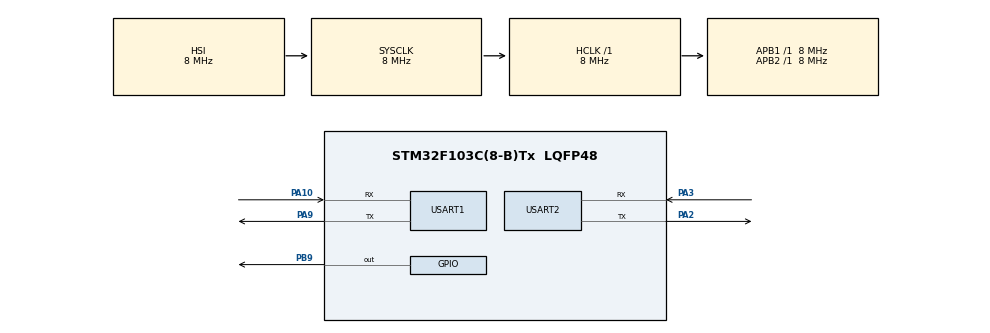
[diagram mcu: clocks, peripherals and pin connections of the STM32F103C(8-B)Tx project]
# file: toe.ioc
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Dma.Request0=USART1_RX
Dma.Request1=USART2_RX
Dma.USART1_RX.0.Direction=DMA_PERIPH_TO_MEMORY
Dma.USART1_RX.0.Instance=DMA1_Channel5
Dma.USART1_RX.0.MemDataAlignment=DMA_MDATAALIGN_BYTE
Dma.USART1_RX.0.MemInc=DMA_MINC_ENABLE
Dma.USART1_RX.0.Mode=DMA_NORMAL
Dma.USART1_RX.0.PeriphDataAlignment=DMA_PDATAALIGN_BYTE
Dma.USART1_RX.0.PeriphInc=DMA_PINC_DISABLE
Dma.USART1_RX.0.Priority=DMA_PRIORITY_LOW
Dma.USART2_RX.1.Direction=DMA_PERIPH_TO_MEMORY
Dma.USART2_RX.1.Instance=DMA1_Channel6
Dma.USART2_RX.1.MemDataAlignment=DMA_MDATAALIGN_BYTE
Dma.USART2_RX.1.MemInc=DMA_MINC_ENABLE
Dma.USART2_RX.1.Mode=DMA_NORMAL
Dma.USART2_RX.1.PeriphDataAlignment=DMA_PDATAALIGN_BYTE
Dma.USART2_RX.1.PeriphInc=DMA_PINC_DISABLE
Dma.USART2_RX.1.Priority=DMA_PRIORITY_LOW
Mcu.Family=STM32F1
Mcu.Name=STM32F103C(8-B)Tx
Mcu.Package=LQFP48
NVIC.DMA1_Channel5_IRQn=true\:0\:0\:false\:false\:true\:false\:true\:true
NVIC.DMA1_Channel6_IRQn=true\:0\:0\:false\:false\:true\:false\:true\:true
NVIC.PriorityGroup=NVIC_PRIORITYGROUP_4
NVIC.USART1_IRQn=true\:0\:0\:false\:false\:true\:true\:true\:true
NVIC.USART2_IRQn=true\:0\:0\:false\:false\:true\:true\:true\:true
PA10.Mode=Asynchronous
PA10.Signal=USART1_RX
PA13.Mode=Serial_Wire
PA13.Signal=SYS_JTMS-SWDIO
PA14.Mode=Serial_Wire
PA14.Signal=SYS_JTCK-SWCLK
PA2.Mode=Asynchronous
PA2.Signal=USART2_TX
PA3.Mode=Asynchronous
PA3.Signal=USART2_RX
PA9.Mode=Asynchronous
PA9.Signal=USART1_TX
PB9.Signal=GPIO_Output
ProjectManager.HeapSize=0x200
ProjectManager.StackSize=0x400
ProjectManager.TargetToolchain=STM32CubeIDE
RCC.AHBFreq_Value=8000000
RCC.APB1Freq_Value=8000000
RCC.APB1TimFreq_Value=8000000
RCC.APB2Freq_Value=8000000
RCC.APB2TimFreq_Value=8000000
RCC.HCLKFreq_Value=8000000
RCC.PLLMUL=RCC_PLL_MUL16
RCC.SYSCLKFreq_VALUE=8000000
RCC.USBFreq_Value=64000000
USART1.VirtualMode=VM_ASYNC
USART2.VirtualMode=VM_ASYNC
board=custom

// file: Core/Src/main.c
/* USER CODE BEGIN Header */
/**
 ******************************************************************************
 * @file           : main.c
 * @brief          : Main program body
 ******************************************************************************
 * @attention
 *
 * Copyright (c) 2024 STMicroelectronics.
 * All rights reserved.
 *
 * This software is licensed under terms that can be found in the LICENSE file
 * in the root directory of this software component.
 * If no LICENSE file comes with this software, it is provided AS-IS.
 *
 ******************************************************************************
 */
/* USER CODE END Header */
#include "main.h"

/* USER CODE BEGIN Includes */
//#include "cmox_crypto.h"
#include <string.h>
#include "mbedtls/aes.h"
#include "mbedtls/des.h"
#include <stdio.h>
/* USER CODE END Includes */

/* USER CODE BEGIN PD */
#define UART2_TRIGGER	0
/* USER CODE END PD */

/* USER CODE BEGIN PM */

unsigned char Key[] = { 0x2b, 0x7e, 0x15, 0x16, 0x28, 0xae, 0xd2, 0xa6, 0xab,
		0xf7, 0x15, 0x88, 0x09, 0xcf, 0x4f, 0x3c };

unsigned char Plaintext[] = { 0x6b, 0xc1, 0xbe, 0xe2, 0x2e, 0x40, 0x9f, 0x96,
		0xe9, 0x3d, 0x7e, 0x11, 0x73, 0x93, 0x17, 0x2a };

unsigned char deskey[8] = { 0x00, 0x11, 0x22, 0x33, 0x44, 0x55, 0x66, 0x77 };
unsigned char input[8] = { 0x00, 0x11, 0x22, 0x33, 0x44, 0x55, 0x66, 0x77 };
unsigned char output[8];
unsigned char backward[8];

/* Computed data buffer */
unsigned char Computed_Ciphertext[sizeof(Plaintext)];
unsigned char Computed_Plaintext[sizeof(Plaintext)];

/* USER CODE END PM */

UART_HandleTypeDef huart1;
UART_HandleTypeDef huart2;
DMA_HandleTypeDef hdma_usart1_rx;
DMA_HandleTypeDef hdma_usart2_rx;

/* USER CODE BEGIN PV */
uint8_t rx1_buffer[BUF_SIZE];
uint8_t rx2_buffer[BUF_SIZE];
uint16_t rx1_cnt;
uint16_t rx2_cnt;
/* USER CODE END PV */

void SystemClock_Config(void);
static void MX_GPIO_Init(void);
static void MX_DMA_Init(void);
static void MX_USART1_UART_Init(void);
static void MX_USART2_UART_Init(void);

/* USER CODE BEGIN 0 */
#ifdef __GNUC__

#define PUTCHAR_PROTOTYPE int __io_putchar(int ch)

#else

#define PUTCHAR_PROTOTYPE int fputc(int ch, FILE *f)

#endif /* __GNUC__ */
PUTCHAR_PROTOTYPE {
	HAL_UART_Transmit(&huart2, (uint8_t*) &ch, 1, 0xFFFF);
	return ch;
}
int fputc(int ch, FILE*) {
	HAL_UART_Transmit(&huart2, (uint8_t*) &ch, 1, 0xFFFF);
	return 1;
}

//int m_printf(const char *fmt, ...)
//{
//	char dat[128];
//	int printed;
//	va_list args;
//	va_start(args, fmt);
//	printed = sprintf((char *)dat, fmt, args);
//	HAL_UART_Transmit_IT(&huart2, dat, printed);
//	va_end(args);
//	return printed;
//}

/* USER CODE END 0 */

int main(void)
{

  /* MCU Configuration--------------------------------------------------------*/

  /* Reset of all peripherals, Initializes the Flash interface and the Systick. */
  HAL_Init();

  /* Configure the system clock */
  SystemClock_Config();

  /* Initialize all configured peripherals */
  MX_GPIO_Init();
  MX_DMA_Init();
  MX_USART1_UART_Init();
  MX_USART2_UART_Init();
  /* USER CODE BEGIN 2 */
	HAL_UARTEx_ReceiveToIdle_DMA(&huart1, rx1_buffer, BUF_SIZE);
	HAL_UARTEx_ReceiveToIdle_DMA(&huart2, rx2_buffer, BUF_SIZE);
	rx1_cnt = rx2_cnt = 0;

	mbedtls_aes_context aes_ctx;
	mbedtls_des_context ctx;
	int key_length = 128; // 密钥长度，AES支持128�??192�??256位密�??
	/*//AES加密示例//
	 mbedtls_aes_context aes_ctx;
	 mbedtls_aes_init(&aes_ctx);

	 mbedtls_aes_setkey_enc(&aes_ctx, Key, key_length); //设置密钥
	 mbedtls_aes_crypt_ecb(&aes_ctx, MBEDTLS_AES_ENCRYPT, Plaintext, Computed_Ciphertext); //加密
	 mbedtls_aes_free(&aes_ctx);
	 //AES加密示例结束//

	 //AES解密示例//
	 mbedtls_aes_init(&aes_ctx);
	 mbedtls_aes_setkey_dec(&aes_ctx, Key, key_length); //设置密钥
	 mbedtls_aes_crypt_ecb(&aes_ctx, MBEDTLS_AES_DECRYPT, Computed_Ciphertext, Computed_Plaintext); //加密
	 mbedtls_aes_free(&aes_ctx);
	 //AES解密示例结束//

	 //DES示例//
	 mbedtls_des_context ctx;
	 mbedtls_des_init(&ctx);
	 mbedtls_des_setkey_enc(&ctx, deskey);
	 mbedtls_des_crypt_ecb(&ctx, input, output);
	 mbedtls_des_setkey_dec(&ctx, deskey);
	 mbedtls_des_crypt_ecb(&ctx, output, backward);
	 mbedtls_des_free(&ctx);*/
	//DES示例结束//
  /* USER CODE END 2 */

  /* Infinite loop */
  /* USER CODE BEGIN WHILE */

	mbedtls_aes_init(&aes_ctx);
	mbedtls_des_init(&ctx);
	while (1) {

    /* USER CODE END WHILE */

    /* USER CODE BEGIN 3 */
		if (rx1_cnt) {

			HAL_GPIO_WritePin(GPIOB, GPIO_PIN_9, GPIO_PIN_RESET);
//			HAL_Delay(300);
			if (rx1_buffer[0] == 0x01 && rx1_buffer[1] == 0x00) { // Set AES encrypt Key
				memcpy(Key, rx1_buffer + 8, 16);
				mbedtls_aes_setkey_enc(&aes_ctx, Key, key_length);
				memset(rx1_buffer, 0x00, 6);
				HAL_UART_Transmit(&huart1, rx1_buffer, 6, 0xffff);
			} else if (rx1_buffer[0] == 0x01 && rx1_buffer[1] == 0x01) { // Set AES decrypt Key
				memcpy(Key, rx1_buffer + 8, 16);
				mbedtls_aes_setkey_dec(&aes_ctx, Key, key_length);
				memset(rx1_buffer, 0x00, 6);
				HAL_UART_Transmit(&huart1, rx1_buffer, 6, 0xffff);
			} else if (rx1_buffer[0] == 0x01 && rx1_buffer[1] == 0x02) { // AES Encryption
#if UART2_TRIGGER
				HAL_UART_Transmit(&huart2, rx2_buffer, 1, 0xffff);
#endif
				mbedtls_aes_crypt_ecb(&aes_ctx, MBEDTLS_AES_ENCRYPT,
						rx1_buffer + 8, rx1_buffer + 6);
#if UART2_TRIGGER
				HAL_UART_Transmit(&huart2, rx2_buffer, 1, 0xffff);
#endif
				memset(rx1_buffer, 0x00, 6);
				rx1_buffer[5] = 0x10;
				HAL_UART_Transmit(&huart1, rx1_buffer, 6 + 16, 0xffff);
//				memcpy(Plaintext, rx1_buffer + 8, 16);
//				HAL_UART_Transmit(&huart2, rx2_buffer, 1, 0xffff);
//				mbedtls_aes_crypt_ecb(&aes_ctx, MBEDTLS_AES_ENCRYPT,
//						rx1_buffer + 8, Computed_Ciphertext);
//				HAL_UART_Transmit(&huart2, rx2_buffer, 1, 0xffff);
//				memcpy(rx1_buffer + 6, Computed_Ciphertext, 16);
//				memset(rx1_buffer, 0x00, 6);
//				rx1_buffer[5] = 0x10;
//				HAL_UART_Transmit(&huart1, rx1_buffer, 6 + 16, 0xffff);
			} else if (rx1_buffer[0] == 0x01 && rx1_buffer[1] == 0x03) {  // AES Decryption
//				memcpy(Plaintext, rx1_buffer + 8, 16);
#if UART2_TRIGGER
				HAL_UART_Transmit(&huart2, rx2_buffer, 1, 0xffff);
#endif
				mbedtls_aes_crypt_ecb(&aes_ctx, MBEDTLS_AES_DECRYPT, rx1_buffer + 8,
						rx1_buffer + 6);
#if UART2_TRIGGER
				HAL_UART_Transmit(&huart2, rx2_buffer, 1, 0xffff);
#endif
//				memcpy(rx1_buffer + 6, Computed_Ciphertext, 16);
				memset(rx1_buffer, 0x00, 6);
				rx1_buffer[5] = 0x10;
				HAL_UART_Transmit(&huart1, rx1_buffer, 6 + 16, 0xffff);
			} else if (rx1_buffer[0] == 0x02 && rx1_buffer[1] == 0x00) {  // Set DES encryption key
				memcpy(deskey, rx1_buffer + 8, 8);
				mbedtls_des_setkey_enc(&ctx, deskey);
				memset(rx1_buffer, 0x00, 6);
				HAL_UART_Transmit(&huart1, rx1_buffer, 6, 0xffff);
			} else if (rx1_buffer[0] == 0x02 && rx1_buffer[1] == 0x01) {  // Set DES decryption key
				memcpy(deskey, rx1_buffer + 8, 8);
				mbedtls_des_setkey_dec(&ctx, deskey);
				memset(rx1_buffer, 0x00, 6);
				HAL_UART_Transmit(&huart1, rx1_buffer, 6, 0xffff);
			} else if (rx1_buffer[0] == 0x02 && rx1_buffer[1] == 0x02) {  // DES Encryption
//				memcpy(input, rx1_buffer + 8, 8);
#if UART2_TRIGGER
				HAL_UART_Transmit(&huart2, rx2_buffer, 1, 0xffff);
#endif
				mbedtls_des_crypt_ecb(&ctx, rx1_buffer + 8, rx1_buffer + 6);
#if UART2_TRIGGER
				HAL_UART_Transmit(&huart2, rx2_buffer, 1, 0xffff);
#endif
//				memcpy(rx1_buffer + 6, out?put, 8);
				memset(rx1_buffer, 0x00, 6);
				rx1_buffer[5] = 0x8;
				HAL_UART_Transmit(&huart1, rx1_buffer, 6 + 8, 0xffff);
			} else if (rx1_buffer[0] == 0x02 && rx1_buffer[1] == 0x03) {
//				memcpy(input, rx1_buffer + 8, 8);
#if UART2_TRIGGER
				HAL_UART_Transmit(&huart2, rx2_buffer, 1, 0xffff);
#endif
				mbedtls_des_crypt_ecb(&ctx, rx1_buffer + 8, rx1_buffer + 6);
#if UART2_TRIGGER
				HAL_UART_Transmit(&huart2, rx2_buffer, 1, 0xffff);
#endif
//				memcpy(rx1_buffer + 6, output, 8);
				memset(rx1_buffer, 0x00, 6);
				rx1_buffer[5] = 0x8;
				HAL_UART_Transmit(&huart1, rx1_buffer, 6 + 8, 0xffff);
			}

			HAL_GPIO_WritePin(GPIOB, GPIO_PIN_9, GPIO_PIN_SET);
			//UART1收到了rx1_cnt个字节， 在rx1_buffer[]�?

			memset(rx1_buffer, 0, rx1_cnt);
			rx1_cnt = 0;
		}

		if (rx2_cnt) {
			HAL_GPIO_WritePin(GPIOB, GPIO_PIN_9, GPIO_PIN_RESET);
			HAL_Delay(300);
			HAL_GPIO_WritePin(GPIOB, GPIO_PIN_9, GPIO_PIN_SET);
			//UART2收到了rx1_cnt个字节， 在rx2_buffer[]�?
			HAL_UART_Transmit(&huart2, rx2_buffer, rx2_cnt, 0xffff);
			memset(rx2_buffer, 0, rx2_cnt);
			rx2_cnt = 0;
		}

	}
	mbedtls_aes_free(&aes_ctx);
	mbedtls_des_free(&ctx);
  /* USER CODE END 3 */
}

void SystemClock_Config(void)
{
  RCC_OscInitTypeDef RCC_OscInitStruct = {0};
  RCC_ClkInitTypeDef RCC_ClkInitStruct = {0};

  /** Initializes the RCC Oscillators according to the specified parameters
  * in the RCC_OscInitTypeDef structure.
  */
  RCC_OscInitStruct.OscillatorType = RCC_OSCILLATORTYPE_HSI;
  RCC_OscInitStruct.HSIState = RCC_HSI_ON;
  RCC_OscInitStruct.HSICalibrationValue = RCC_HSICALIBRATION_DEFAULT;
  RCC_OscInitStruct.PLL.PLLState = RCC_PLL_NONE;
  if (HAL_RCC_OscConfig(&RCC_OscInitStruct) != HAL_OK)
  {
    Error_Handler();
  }

  /** Initializes the CPU, AHB and APB buses clocks
  */
  RCC_ClkInitStruct.ClockType = RCC_CLOCKTYPE_HCLK|RCC_CLOCKTYPE_SYSCLK
                              |RCC_CLOCKTYPE_PCLK1|RCC_CLOCKTYPE_PCLK2;
  RCC_ClkInitStruct.SYSCLKSource = RCC_SYSCLKSOURCE_HSI;
  RCC_ClkInitStruct.AHBCLKDivider = RCC_SYSCLK_DIV1;
  RCC_ClkInitStruct.APB1CLKDivider = RCC_HCLK_DIV1;
  RCC_ClkInitStruct.APB2CLKDivider = RCC_HCLK_DIV1;

  if (HAL_RCC_ClockConfig(&RCC_ClkInitStruct, FLASH_LATENCY_0) != HAL_OK)
  {
    Error_Handler();
  }
}

static void MX_USART1_UART_Init(void)
{

  huart1.Instance = USART1;
  huart1.Init.BaudRate = 115200;
  huart1.Init.WordLength = UART_WORDLENGTH_8B;
  huart1.Init.StopBits = UART_STOPBITS_1;
  huart1.Init.Parity = UART_PARITY_NONE;
  huart1.Init.Mode = UART_MODE_TX_RX;
  huart1.Init.HwFlowCtl = UART_HWCONTROL_NONE;
  huart1.Init.OverSampling = UART_OVERSAMPLING_16;
  if (HAL_UART_Init(&huart1) != HAL_OK)
  {
    Error_Handler();
  }

}

static void MX_USART2_UART_Init(void)
{

  huart2.Instance = USART2;
  huart2.Init.BaudRate = 115200;
  huart2.Init.WordLength = UART_WORDLENGTH_8B;
  huart2.Init.StopBits = UART_STOPBITS_1;
  huart2.Init.Parity = UART_PARITY_NONE;
  huart2.Init.Mode = UART_MODE_TX_RX;
  huart2.Init.HwFlowCtl = UART_HWCONTROL_NONE;
  huart2.Init.OverSampling = UART_OVERSAMPLING_16;
  if (HAL_UART_Init(&huart2) != HAL_OK)
  {
    Error_Handler();
  }

}

static void MX_DMA_Init(void)
{

  /* DMA controller clock enable */
  __HAL_RCC_DMA1_CLK_ENABLE();

  /* DMA interrupt init */
  /* DMA1_Channel5_IRQn interrupt configuration */
  HAL_NVIC_SetPriority(DMA1_Channel5_IRQn, 0, 0);
  HAL_NVIC_EnableIRQ(DMA1_Channel5_IRQn);
  /* DMA1_Channel6_IRQn interrupt configuration */
  HAL_NVIC_SetPriority(DMA1_Channel6_IRQn, 0, 0);
  HAL_NVIC_EnableIRQ(DMA1_Channel6_IRQn);

}

static void MX_GPIO_Init(void)
{
  GPIO_InitTypeDef GPIO_InitStruct = {0};

  /* GPIO Ports Clock Enable */
  __HAL_RCC_GPIOA_CLK_ENABLE();
  __HAL_RCC_GPIOB_CLK_ENABLE();

  /*Configure GPIO pin Output Level */
  HAL_GPIO_WritePin(GPIOB, GPIO_PIN_9, GPIO_PIN_RESET);

  /*Configure GPIO pin : PB9 */
  GPIO_InitStruct.Pin = GPIO_PIN_9;
  GPIO_InitStruct.Mode = GPIO_MODE_OUTPUT_PP;
  GPIO_InitStruct.Pull = GPIO_NOPULL;
  GPIO_InitStruct.Speed = GPIO_SPEED_FREQ_LOW;
  HAL_GPIO_Init(GPIOB, &GPIO_InitStruct);

}

void Error_Handler(void)
{
	__disable_irq();
	while (1) {
	}
}
